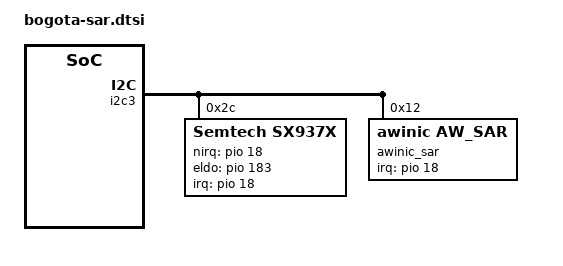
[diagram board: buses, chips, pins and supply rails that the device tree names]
/*
 * Copyright (c) 2021 MediaTek Inc.
 *
 * This program is free software; you can redistribute it and/or modify
 * it under the terms of the GNU General Public License version 2 as
 * published by the Free Software Foundation.
 *
 * This program is distributed in the hope that it will be useful,
 * but WITHOUT ANY WARRANTY; without even the implied warranty of
 * MERCHANTABILITY or FITNESS FOR A PARTICULAR PURPOSE.  See the
 * GNU General Public License for more details.
 */

&pio {
	sar_int_default: sar_int_default {
		pins_cmd_dat {
			pinmux = <PINMUX_GPIO18__FUNC_GPIO18>;
			input-enable;
			drive-strength = <2>;
			bias-pull-up;
		};
	};

	sar_int_sleep: sar_int_sleep {
		pins_cmd_dat {
			pinmux = <PINMUX_GPIO18__FUNC_GPIO18>;
			input-enable;
			drive-strength = <2>;
			bias-pull-up;
		};
	};
};


&i2c3 {
	status = "okay";

	sx937x:sx937x@2c {
		compatible = "Semtech,sx937x";
		reg = <0x2c>;
                Semtech,power-supply-type = <2>;
		pinctrl-names = "default","sleep";
		pinctrl-0 = <&sar_int_default>;
		pinctrl-1 = <&sar_int_sleep>;
		interrupt-parent = <&pio>;
		interrupts = <18 0x02>;
		interrupt-names = "sx937x_irq";
		Semtech,nirq-gpio = <&pio 18 0x02>;
		Semtech,eldo-gpio = <&pio 183 0x00>;
                esd-reinit-on = <1>;
		/*use PH4/5/6 as the reference sensor
		set it to 0xff if the ref-phases-x is not used*/
		Semtech,ref-phases-a = <5>;
		Semtech,ref-phases-b = <6>;
		Semtech,ref-phases-c = <0xff>;
		Semtech,button-flag = <0x1f>;
		Semtech,reg-num = <58>;
		Semtech,reg-init = <
			0x8024  0x3F00
			0x4004  0x74
			0x4008  0x8
			0x8020  0x32
			0x8028  0x87F
			0x8034  0x87F
			0x8040  0x886
			0x804C  0x87F
			0x8058  0x87F
			0x8064  0x87F
			0x8070  0x85E
			0x807C  0x85E
			0x8030  0x924964
			0x803C  0x964924
			0x8048  0xB24924
			0x8054  0x924925
			0x8060  0x92492C
			0x806C  0x92C924
			0x8078  0xFFFFFF
			0x8084  0xFFF9FF
			0x8098  0x7B4B
			0x80B8  0x734B
			0x80D8  0x1D1D
			0x80F8  0x6262
			0x8118  0xFF
			0x8138  0xFF
			0x8158  0xFF
			0x8178  0xFF
			0x80A0  0x20200001
			0x80C0  0x2E2E0002
			0x80E0  0x1E1E0001
			0x8100  0x04040002
			0x8188  0x8000014
			0x818C  0x8000015
			0x8090  0x50BD5010
			0x80B0  0x50BC5000
			0x80D0  0x50B95000
			0x80F0  0x50BC5000
			0x8110  0x00005000
			0x8130  0x5000
			0x8150  0x5000
			0x8170  0x5000
			0x8088  0x300000
			0x80A8  0x300000
			0x80C8  0x300000
			0x80E8  0x300000
			0x8108  0x6300000
			0x8128  0x6300000
			0x8148  0x6300000
			0x8168  0x6300000
			0x808C  0x602000A0
			0x80AC  0x6020008C
			0x80CC  0x60200030
			0x80EC  0x60200078
			0x810C  0x60200030
			0x812C  0x60200030
			0x814C  0x60200030
			0x816C  0x60200030
		>;

		status = "okay";
	};

	awinic_sar@12 {
		/* common node */
		compatible = "awinic,aw_sar";
		reg = < 0x12 >;
		//aw_sar,regulator-power-supply = <1>;
		sar-num = < 0 >;
		interrupt-parent = < &pio >;
		interrupts = <18 0x02>;
		interrupt-names = "awinic_irq";
		irq-gpio = <&pio 18 0x02>;
		//vcc0-supply = <&L12A>;
		channel_use_flag = <0x1f>;
		aw_sar,use_plug_cail;
		aw_sar,update_fw;
		/* private node belongs to aw963xx */
		start-mode = < 1 >; // 0: start in rom  1: start in ram
		irq-mux = < 2 >; // set csx as irq pin. config this field when connect to aw96308/aw96310
		status = "okay";
	};
};
